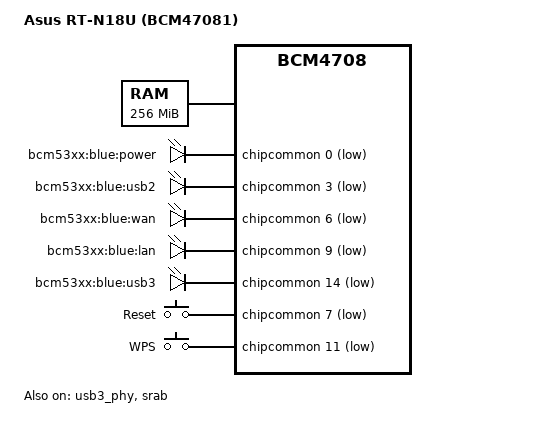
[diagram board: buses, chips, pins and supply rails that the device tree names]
// SPDX-License-Identifier: GPL-2.0-or-later OR MIT
/*
 * Broadcom BCM470X / BCM5301X ARM platform code.
 * DTS for Asus RT-N18U
 *
 * Copyright (C) 2014 Rafał Miłecki <zajec5@gmail.com>
 */

/dts-v1/;

#include "bcm47081.dtsi"
#include "bcm5301x-nand-cs0-bch8.dtsi"

/ {
	compatible = "asus,rt-n18u", "brcm,bcm47081", "brcm,bcm4708";
	model = "Asus RT-N18U (BCM47081)";

	chosen {
		bootargs = "console=ttyS0,115200";
	};

	memory@0 {
		device_type = "memory";
		reg = <0x00000000 0x08000000>,
		      <0x88000000 0x08000000>;
	};

	leds {
		compatible = "gpio-leds";

		power {
			label = "bcm53xx:blue:power";
			gpios = <&chipcommon 0 GPIO_ACTIVE_LOW>;
			linux,default-trigger = "default-on";
		};

		usb2 {
			label = "bcm53xx:blue:usb2";
			gpios = <&chipcommon 3 GPIO_ACTIVE_LOW>;
		};

		wan {
			label = "bcm53xx:blue:wan";
			gpios = <&chipcommon 6 GPIO_ACTIVE_LOW>;
			linux,default-trigger = "default-on";
		};

		lan {
			label = "bcm53xx:blue:lan";
			gpios = <&chipcommon 9 GPIO_ACTIVE_LOW>;
			linux,default-trigger = "default-on";
		};

		usb3 {
			label = "bcm53xx:blue:usb3";
			gpios = <&chipcommon 14 GPIO_ACTIVE_LOW>;
		};
	};

	gpio-keys {
		compatible = "gpio-keys";

		button-restart {
			label = "Reset";
			linux,code = <KEY_RESTART>;
			gpios = <&chipcommon 7 GPIO_ACTIVE_LOW>;
		};

		button-wps {
			label = "WPS";
			linux,code = <KEY_WPS_BUTTON>;
			gpios = <&chipcommon 11 GPIO_ACTIVE_LOW>;
		};
	};
};

&usb3_phy {
	status = "okay";
};

&srab {
	status = "okay";

	ports {
		port@0 {
			reg = <0>;
			label = "wan";
		};

		port@1 {
			reg = <1>;
			label = "lan1";
		};

		port@2 {
			reg = <2>;
			label = "lan2";
		};

		port@3 {
			reg = <3>;
			label = "lan3";
		};

		port@4 {
			reg = <4>;
			label = "lan4";
		};

		port@5 {
			reg = <5>;
			label = "cpu";
			ethernet = <&gmac0>;
		};
	};
};
